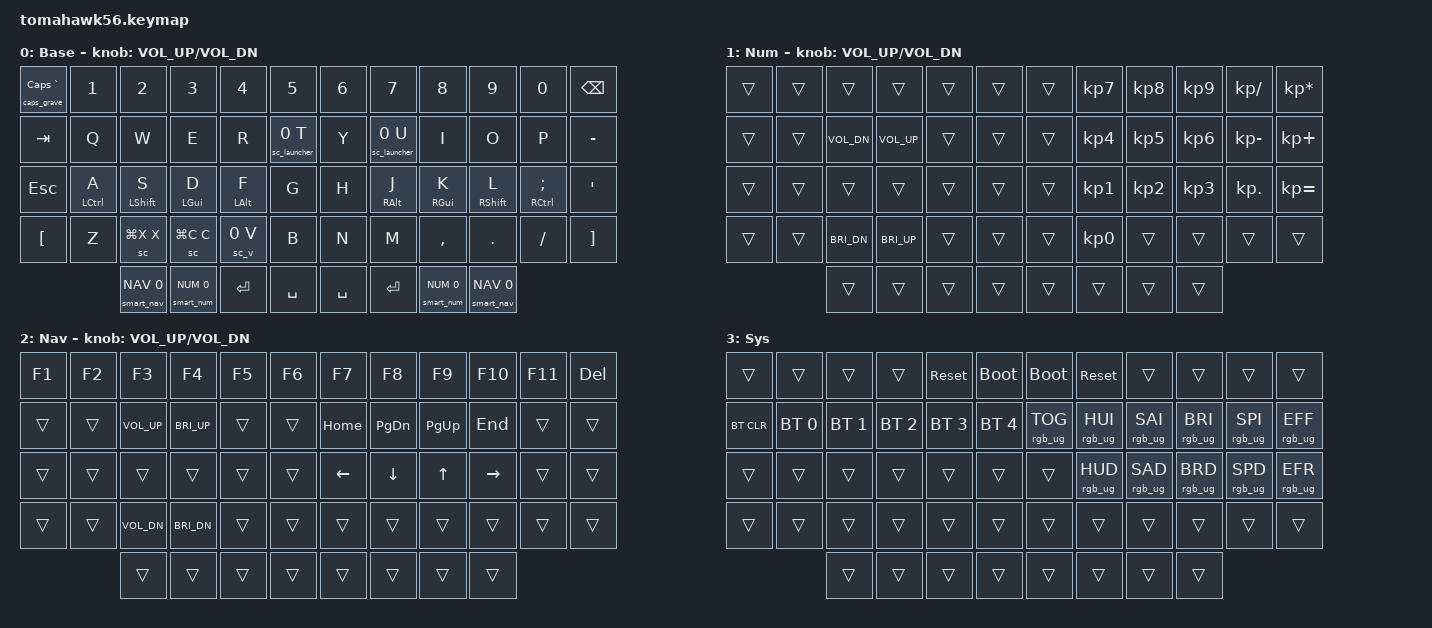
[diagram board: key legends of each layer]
/*
 * Copyright (c) 2020 The ZMK Contributors
 *
 * SPDX-License-Identifier: MIT
 */

#include <behaviors.dtsi>
#include <dt-bindings/zmk/bt.h>
#include <dt-bindings/zmk/keys.h>
#include <dt-bindings/zmk/rgb.h>
#include <dt-bindings/zmk/backlight.h>
#include <zmk-helpers/helper.h>

// === Position labels (MoErgo-style: C1 = innermost column, R1 = bottom row,
// T1 = innermost thumb). Tomahawk56 = uniform 4 rows x 6 columns + 4 thumbs per side. ===
//
//   Left hand:                              Right hand:
//   C6 C5 C4 C3 C2 C1                       C1 C2 C3 C4 C5 C6
//   numbers   row    (R4) -------- top row  numbers
//   top alpha row    (R3) ----- top alpha row
//   home row         (R2) --------- home row
//   bottom alpha row (R1) - bottom alpha row
//
//   Thumbs (outer -> inner):  Thumbs (inner -> outer):
//   T4 T3 T2 T1                T1 T2 T3 T4

// Left hand finger keys.
#define LH_C6_R4  0
#define LH_C5_R4  1
#define LH_C4_R4  2
#define LH_C3_R4  3
#define LH_C2_R4  4
#define LH_C1_R4  5

#define LH_C6_R3 12
#define LH_C5_R3 13
#define LH_C4_R3 14
#define LH_C3_R3 15
#define LH_C2_R3 16
#define LH_C1_R3 17

#define LH_C6_R2 24
#define LH_C5_R2 25
#define LH_C4_R2 26
#define LH_C3_R2 27
#define LH_C2_R2 28
#define LH_C1_R2 29

#define LH_C6_R1 36
#define LH_C5_R1 37
#define LH_C4_R1 38
#define LH_C3_R1 39
#define LH_C2_R1 40
#define LH_C1_R1 41

// Left hand thumbs (T4 outermost -> T1 innermost).
#define LH_T4    48
#define LH_T3    49
#define LH_T2    50
#define LH_T1    51

// Right hand finger keys.
#define RH_C1_R4  6
#define RH_C2_R4  7
#define RH_C3_R4  8
#define RH_C4_R4  9
#define RH_C5_R4 10
#define RH_C6_R4 11

#define RH_C1_R3 18
#define RH_C2_R3 19
#define RH_C3_R3 20
#define RH_C4_R3 21
#define RH_C5_R3 22
#define RH_C6_R3 23

#define RH_C1_R2 30
#define RH_C2_R2 31
#define RH_C3_R2 32
#define RH_C4_R2 33
#define RH_C5_R2 34
#define RH_C6_R2 35

#define RH_C1_R1 42
#define RH_C2_R1 43
#define RH_C3_R1 44
#define RH_C4_R1 45
#define RH_C5_R1 46
#define RH_C6_R1 47

// Right hand thumbs (T1 innermost -> T4 outermost).
#define RH_T1    52
#define RH_T2    53
#define RH_T3    54
#define RH_T4    55

// Position groups (for HRM hold-trigger-key-positions and similar).
#define KEYS_L  LH_C6_R4 LH_C5_R4 LH_C4_R4 LH_C3_R4 LH_C2_R4 LH_C1_R4 \
                LH_C6_R3 LH_C5_R3 LH_C4_R3 LH_C3_R3 LH_C2_R3 LH_C1_R3 \
                LH_C6_R2 LH_C5_R2 LH_C4_R2 LH_C3_R2 LH_C2_R2 LH_C1_R2 \
                LH_C6_R1 LH_C5_R1 LH_C4_R1 LH_C3_R1 LH_C2_R1 LH_C1_R1

#define KEYS_R  RH_C1_R4 RH_C2_R4 RH_C3_R4 RH_C4_R4 RH_C5_R4 RH_C6_R4 \
                RH_C1_R3 RH_C2_R3 RH_C3_R3 RH_C4_R3 RH_C5_R3 RH_C6_R3 \
                RH_C1_R2 RH_C2_R2 RH_C3_R2 RH_C4_R2 RH_C5_R2 RH_C6_R2 \
                RH_C1_R1 RH_C2_R1 RH_C3_R1 RH_C4_R1 RH_C5_R1 RH_C6_R1

#define THUMBS  LH_T4 LH_T3 LH_T2 LH_T1  RH_T1 RH_T2 RH_T3 RH_T4

#define QUICK_TAP_MS 175

// Layer indices.
#define BASE 0
#define NUM  1
#define NAV  2
#define SYS  3

// Combo timing constants.
//   SYS combos: deliberate 2-key chord to activate the sys layer.
//     Wider timeout because the fingers travel further; long prior-idle
//     because triggering during typing must be effectively impossible.
//   HRM chords: tight chord on adjacent home-row keys to fire a 2-mod combo.
//     Short timeout to avoid typed-bigram false fires; modest prior-idle
//     gate to keep it out of typing flow.
#define SYS_COMBO_TIMEOUT_MS    300
#define SYS_COMBO_PRIOR_IDLE_MS 500
#define HRM_CHORD_TIMEOUT_MS     50
#define HRM_CHORD_PRIOR_IDLE_MS 150

// Home-row mods (urob-style): balanced flavor + opposite-hand positional trigger
// + hold-trigger-on-release + prior-idle gate. Mirrors the kanata setup.
#define MAKE_HRM(NAME, HOLD, TAP, TRIGGER_POS)                                 \
  ZMK_HOLD_TAP(NAME, bindings = <HOLD>, <TAP>; flavor = "balanced";            \
               tapping-term-ms = <280>; quick-tap-ms = <QUICK_TAP_MS>;         \
               require-prior-idle-ms = <150>; hold-trigger-on-release;         \
               hold-trigger-key-positions = <TRIGGER_POS>;)

MAKE_HRM(hml, &kp, &kp, KEYS_R THUMBS) // Left-hand HRMs (trigger from right + thumbs).
MAKE_HRM(hmr, &kp, &kp, KEYS_L THUMBS) // Right-hand HRMs (trigger from left + thumbs).

// Shortcut hold-tap: hold = mod-combo, tap = letter. tap-preferred + quick-tap-ms
// gives kanata-like "tap by default, double-tap-hold repeats via OS auto-repeat".
// Use at call site: &sc LG(C) C  -> tap=C, hold=Cmd+C.
ZMK_HOLD_TAP(sc, bindings = <&kp>, <&kp>; flavor = "tap-preferred";
             tapping-term-ms = <175>; quick-tap-ms = <QUICK_TAP_MS>;)

// Launcher/prefix shortcut: fire Ctrl+Space *once* on invocation (used by t/u
// hold for zellij prefix etc.). Wrapped as a macro so the chord doesn't stay
// pressed while the hold-tap key is held -- prevents zellij from seeing a
// repeating prefix trigger.
ZMK_MACRO(launcher, bindings = <&kp LC(SPACE)>; wait-ms = <0>; tap-ms = <30>;)

ZMK_HOLD_TAP(sc_launcher, bindings = <&launcher>, <&kp>; flavor = "tap-preferred";
             tapping-term-ms = <175>; quick-tap-ms = <QUICK_TAP_MS>;)

// Paste-from-Pastebot shortcut. Pastebot's hotkey is Ctrl+Shift+V on this
// machine (matches the kanata config's `C-S-v`), NOT the macOS-standard
// Cmd+Shift+V. Built as a macro so the modifier set is fixed at compile time.
ZMK_MACRO(paste_plain,
          bindings = <&macro_press &kp LCTRL &kp LSHFT>,
                     <&macro_tap &kp V>,
                     <&macro_release &kp LSHFT &kp LCTRL>;
          wait-ms = <40>;
          tap-ms = <40>;)

// Hold-tap variant of sc with the hold hardcoded to paste-plain.
ZMK_HOLD_TAP(sc_v, bindings = <&paste_plain>, <&kp>; flavor = "tap-preferred";
             tapping-term-ms = <175>; quick-tap-ms = <QUICK_TAP_MS>;)

// Grave/tilde/caps key: tap = `, shift+tap = ~ (via shift flow-through from
// an HRM or modifier held during the tap), hold = Caps Lock toggle. Replaces
// &gresc at LH_C6_R4.
ZMK_HOLD_TAP(caps_grave, bindings = <&kp>, <&kp>; flavor = "tap-preferred";
             tapping-term-ms = <200>; quick-tap-ms = <QUICK_TAP_MS>;)

// Smart layer-tap: hold = momentary layer (active while held), 1-tap = return
// to base layer (&to BASE), 2-tap = toggle persistent layer overlay (&tog).
// Uses &tog for the persistent path because &to deactivates all other layers
// including the base, which would break &trans fall-through on the LH side.
ZMK_TAP_DANCE(td_num, bindings = <&to BASE>, <&tog NUM>; tapping-term-ms = <350>;)
ZMK_HOLD_TAP(smart_num, bindings = <&mo>, <&td_num>; flavor = "balanced";
             tapping-term-ms = <200>; quick-tap-ms = <QUICK_TAP_MS>;)

ZMK_TAP_DANCE(td_nav, bindings = <&to BASE>, <&tog NAV>; tapping-term-ms = <350>;)
ZMK_HOLD_TAP(smart_nav, bindings = <&mo>, <&td_nav>; flavor = "balanced";
             tapping-term-ms = <200>; quick-tap-ms = <QUICK_TAP_MS>;)

// === HRM 2-key chords (kanata defchordsv2 equivalent) ===
// Pressing two adjacent HRM home-row keys within 50ms holds the corresponding
// modifier pair for as long as the chord is held. Releases cleanly when either
// chord key is released. require-prior-idle-ms gates the combos out of
// typing flow so bigrams like "as", "and", "is" don't trigger accidentally.

#define CHORD(NAME, MOD1, MOD2)                                                \
  ZMK_MACRO(NAME,                                                              \
      bindings = <&macro_press &kp MOD1 &kp MOD2>,                             \
                 <&macro_pause_for_release>,                                   \
                 <&macro_release &kp MOD2 &kp MOD1>;                           \
      wait-ms = <0>; tap-ms = <0>;)

// Left-hand chord macros (a=LCTL, s=LSFT, d=LGUI, f=LALT).
CHORD(chord_lctl_lsft, LCTRL, LSHFT)  // a + s
CHORD(chord_lctl_lgui, LCTRL, LGUI)   // a + d
CHORD(chord_lctl_lalt, LCTRL, LALT)   // a + f
CHORD(chord_lsft_lgui, LSHFT, LGUI)   // s + d
CHORD(chord_lsft_lalt, LSHFT, LALT)   // s + f
CHORD(chord_lgui_lalt, LGUI,  LALT)   // d + f

// Right-hand chord macros (j=RALT, k=RGUI, l=RSFT, ;=RCTL).
CHORD(chord_ralt_rgui, RALT,  RGUI)   // j + k
CHORD(chord_ralt_rsft, RALT,  RSHFT)  // j + l
CHORD(chord_ralt_rctl, RALT,  RCTRL)  // j + ;
CHORD(chord_rgui_rsft, RGUI,  RSHFT)  // k + l
CHORD(chord_rgui_rctl, RGUI,  RCTRL)  // k + ;
CHORD(chord_rsft_rctl, RSHFT, RCTRL)  // l + ;

/*
 * Assign the cs-gpios pin to 4.
 * Uncomment these next few lines if implementing nice!view Displays
 */

// nice_view_spi: &spi0 { cs-gpios = <&pro_micro 4 GPIO_ACTIVE_HIGH>; };

// Uncomment this block if using RGB
&led_strip {
    chain-length = <28>;
};

/ {
    // Combos that activate the sys layer (layer 3). Each combo lives on a single
    // half so the central can process it even if the peripheral is briefly out
    // (and so the bootloader/reset keys on the sys layer land on real physical
    // positions, ensuring &bootloader and &sys_reset route to the intended half).
    combos {
        compatible = "zmk,combos";

        // 2-key combo activates the sys layer; the bootloader/sys_reset
        // keys (N4-N7 on the sys layer) are then pressed as a separate keystroke.
        // Matches the original b78ffee design intent -- 2 keys to coordinate
        // within the combo window, then a third deliberate key press for the
        // actual reset/bootloader action.
        combo_sys_left {
            timeout-ms = <SYS_COMBO_TIMEOUT_MS>;
            key-positions = <LH_T1 LH_C5_R1>;  // SPACE + Z
            bindings = <&mo SYS>;
            require-prior-idle-ms = <SYS_COMBO_PRIOR_IDLE_MS>;
        };

        combo_sys_right {
            timeout-ms = <SYS_COMBO_TIMEOUT_MS>;
            key-positions = <RH_T1 RH_C5_R1>;  // SPACE + /
            bindings = <&mo SYS>;
            require-prior-idle-ms = <SYS_COMBO_PRIOR_IDLE_MS>;
        };

        // === HRM chord combos: 2 adjacent home-row keys -> 2-mod combo ===
        // Each chord fires the matching chord_* macro, which holds the mods
        // until the chord is released. timeout=50ms is tight enough to avoid
        // typing-roll false-fires; require-prior-idle-ms=150 adds an idle
        // gate for typed bigrams like "as", "is", "in" etc.

        // Left hand: a + s/d/f, s + d/f, d + f.
        combo_chord_as { timeout-ms = <HRM_CHORD_TIMEOUT_MS>; key-positions = <LH_C5_R2 LH_C4_R2>; bindings = <&chord_lctl_lsft>; require-prior-idle-ms = <HRM_CHORD_PRIOR_IDLE_MS>; };
        combo_chord_ad { timeout-ms = <HRM_CHORD_TIMEOUT_MS>; key-positions = <LH_C5_R2 LH_C3_R2>; bindings = <&chord_lctl_lgui>; require-prior-idle-ms = <HRM_CHORD_PRIOR_IDLE_MS>; };
        combo_chord_af { timeout-ms = <HRM_CHORD_TIMEOUT_MS>; key-positions = <LH_C5_R2 LH_C2_R2>; bindings = <&chord_lctl_lalt>; require-prior-idle-ms = <HRM_CHORD_PRIOR_IDLE_MS>; };
        combo_chord_sd { timeout-ms = <HRM_CHORD_TIMEOUT_MS>; key-positions = <LH_C4_R2 LH_C3_R2>; bindings = <&chord_lsft_lgui>; require-prior-idle-ms = <HRM_CHORD_PRIOR_IDLE_MS>; };
        combo_chord_sf { timeout-ms = <HRM_CHORD_TIMEOUT_MS>; key-positions = <LH_C4_R2 LH_C2_R2>; bindings = <&chord_lsft_lalt>; require-prior-idle-ms = <HRM_CHORD_PRIOR_IDLE_MS>; };
        combo_chord_df { timeout-ms = <HRM_CHORD_TIMEOUT_MS>; key-positions = <LH_C3_R2 LH_C2_R2>; bindings = <&chord_lgui_lalt>; require-prior-idle-ms = <HRM_CHORD_PRIOR_IDLE_MS>; };

        // Right hand: j + k/l/;, k + l/;, l + ;.
        combo_chord_jk    { timeout-ms = <HRM_CHORD_TIMEOUT_MS>; key-positions = <RH_C2_R2 RH_C3_R2>; bindings = <&chord_ralt_rgui>; require-prior-idle-ms = <HRM_CHORD_PRIOR_IDLE_MS>; };
        combo_chord_jl    { timeout-ms = <HRM_CHORD_TIMEOUT_MS>; key-positions = <RH_C2_R2 RH_C4_R2>; bindings = <&chord_ralt_rsft>; require-prior-idle-ms = <HRM_CHORD_PRIOR_IDLE_MS>; };
        combo_chord_jsemi { timeout-ms = <HRM_CHORD_TIMEOUT_MS>; key-positions = <RH_C2_R2 RH_C5_R2>; bindings = <&chord_ralt_rctl>; require-prior-idle-ms = <HRM_CHORD_PRIOR_IDLE_MS>; };
        combo_chord_kl    { timeout-ms = <HRM_CHORD_TIMEOUT_MS>; key-positions = <RH_C3_R2 RH_C4_R2>; bindings = <&chord_rgui_rsft>; require-prior-idle-ms = <HRM_CHORD_PRIOR_IDLE_MS>; };
        combo_chord_ksemi { timeout-ms = <HRM_CHORD_TIMEOUT_MS>; key-positions = <RH_C3_R2 RH_C5_R2>; bindings = <&chord_rgui_rctl>; require-prior-idle-ms = <HRM_CHORD_PRIOR_IDLE_MS>; };
        combo_chord_lsemi { timeout-ms = <HRM_CHORD_TIMEOUT_MS>; key-positions = <RH_C4_R2 RH_C5_R2>; bindings = <&chord_rsft_rctl>; require-prior-idle-ms = <HRM_CHORD_PRIOR_IDLE_MS>; };
    };

    keymap {
        compatible = "zmk,keymap";

        default_layer {
// ------------------------------------------------------------------------------------------------------------
// | grv*  |  1  |  2   |  3   |  4   |  5   |            |  6   |  7    |  8    |  9   |   0   | BSPC  |
// |  TAB  |  Q  |  W   |  E   |  R   |  T*  |            |  Y   |  U*   |  I    |  O   |   P   |   -   |
// |  ESC  |CTL/A|SFT/S |CMD/D |ALT/F |  G   |            |  H   |ALT/J  |CMD/K  |SFT/L |CTL/;  |   '   |
// |  [    |  Z  |  X*  |  C*  |  V*  |  B   |            |  N   |  M    |  ,    |  .   |   /   |  ]    |
//               | NUM  | NUM  | ENT  |SPACE |            |SPACE | ENT   |  NAV  | NAV  |
//
// Holds: T*/U* -> Ctrl-Space; X* -> Cmd-X; C* -> Cmd-C; V* -> Cmd-Shift-V.
//        grv*  -> tap = `, shift+tap = ~, hold = Caps Lock.
//        NUM   -> hold momentary; 1-tap = back to base; 2-tap = toggle persistent.
//        NAV   -> same pattern for nav layer.

            display-name = "Base";
            bindings = <
&caps_grave CAPS GRAVE  &kp N1        &kp N2            &kp N3            &kp N4         &kp N5                  &kp N6     &kp N7                &kp N8             &kp N9            &kp N0           &kp BSPC
&kp TAB                 &kp Q         &kp W             &kp E             &kp R          &sc_launcher 0 T        &kp Y      &sc_launcher 0 U      &kp I              &kp O             &kp P            &kp MINUS
&kp ESC                 &hml LCTRL A  &hml LSHFT S      &hml LGUI D       &hml LALT F    &kp G                   &kp H      &hmr RALT J           &hmr RGUI K        &hmr RSHFT L      &hmr RCTRL SEMI  &kp SQT
&kp LBKT                &kp Z         &sc LG(X) X       &sc LG(C) C       &sc_v 0 V      &kp B                   &kp N      &kp M                 &kp COMMA          &kp DOT           &kp FSLH         &kp RBKT
                                      &smart_nav NAV 0  &smart_num NUM 0  &kp RET        &kp SPACE               &kp SPACE  &kp RET               &smart_num NUM 0   &smart_nav NAV 0
            >;

            sensor-bindings = <&inc_dec_kp C_VOL_UP C_VOL_DN>;
        };

        num_layer {
// ------------------------------------------------------------------------------------------------------------
// |       |     |     |      |      |      |            |      |  KP7  |  KP8  | KP9  |  KP/  |  KP*  |
// |       |     |VOL- |VOL+  |      |      |            |      |  KP4  |  KP5  | KP6  |  KP-  |  KP+  |
// |       |CTL/A|SFT/S|CMD/D |ALT/F |      |            |      |  KP1  |  KP2  | KP3  |  KP.  |  KP=  |
// |       |     |BRI- |BRI+  |      |      |            |      |  KP0  |       |      |       |       |
//               |     |      |      |      |            |      |       |       |      |
//
// Held via LH thumb (NUM key). Top row is &trans -- falls through to base
// numbers (1-0). RH numpad shifted up one row so 7-8-9 are on R4; 0 sits
// directly below 1. LH C3/C4: volume side-by-side on R3, brightness
// side-by-side on R1. LH HRMs stay live via &trans on R2.

            display-name = "Num";
            bindings = <
&trans   &trans   &trans        &trans        &trans   &trans         &trans   &kp KP_N7   &kp KP_N8   &kp KP_N9   &kp KP_SLASH    &kp KP_ASTERISK
&trans   &trans   &kp C_VOL_DN  &kp C_VOL_UP  &trans   &trans         &trans   &kp KP_N4   &kp KP_N5   &kp KP_N6   &kp KP_MINUS    &kp KP_PLUS
&trans   &trans   &trans        &trans        &trans   &trans         &trans   &kp KP_N1   &kp KP_N2   &kp KP_N3   &kp KP_DOT      &kp KP_EQUAL
&trans   &trans   &kp C_BRI_DN  &kp C_BRI_UP  &trans   &trans         &trans   &kp KP_N0   &trans      &trans      &trans          &trans
                  &trans        &trans        &trans   &trans         &trans   &trans      &trans      &trans
            >;

            sensor-bindings = <&inc_dec_kp C_VOL_UP C_VOL_DN>;
        };

        nav_layer {
// ------------------------------------------------------------------------------------------------------------
// |  F1   | F2  | F3  | F4   | F5   | F6   |            | F7   | F8    | F9    | F10  |  F11  |  DEL  |
// |       |     |VOL+ |BRI+  |      |      |            | HOME | PG_DN | PG_UP | END  |       |       |
// |       |CTL/A|SFT/S|CMD/D |ALT/F |      |            |  <-  |   v   |   ^   |  ->  |       |       |
// |       |     |VOL- |BRI-  |      |      |            |      |       |       |      |       |       |
//               |     |      |      |      |            |      |       |       |      |
//
// Held via RH thumb (NAV key). LH HRMs stay live; RH HRMs overridden so
// HJKL = LEFT DOWN UP RIGHT directly. Page nav above arrows. The BSPC
// position becomes DEL (forward delete) -- macOS treats &kp DEL as the
// same event Fn+Delete generates.

            display-name = "Nav";
            bindings = <
&kp F1   &kp F2   &kp F3        &kp F4        &kp F5  &kp F6        &kp F7      &kp F8       &kp F9       &kp F10       &kp F11   &kp DEL
&trans   &trans   &kp C_VOL_UP  &kp C_BRI_UP  &trans  &trans        &kp HOME    &kp PG_DN    &kp PG_UP    &kp END       &trans    &trans
&trans   &trans   &trans        &trans        &trans  &trans        &kp LEFT    &kp DOWN     &kp UP       &kp RIGHT     &trans    &trans
&trans   &trans   &kp C_VOL_DN  &kp C_BRI_DN  &trans  &trans        &trans      &trans       &trans       &trans        &trans    &trans
                  &trans        &trans        &trans  &trans        &trans      &trans       &trans       &trans
            >;

            sensor-bindings = <&inc_dec_kp C_VOL_UP C_VOL_DN>;
        };

        sys_layer {
// ------------------------------------------------------------------------------------------------------------
// |       |     |     |     |RESET| BOOT |            | BOOT |RESET|     |     |     |       |
// | BTCLR | BT0 | BT1 | BT2 | BT3 | BT4  |            |UG_TOG|UG_H+|UG_S+|UG_B+|UG_P+| UG_E+ |
// |       |     |     |     |     |      |            |      |UG_H-|UG_S-|UG_B-|UG_P-| UG_E- |
// |       |     |     |     |     |      |            |      |     |     |     |     |       |
//                     |     |     |      |            |      |     |     |     |
//
// Reached via 2-key combos:
//   left:  SPACE + Z   (LH_T1 + LH_C5_R1)
//   right: SPACE + /   (RH_T1 + RH_C5_R1)
// Then on this layer, press the appropriate number key:
//   N4 -> sys_reset LEFT     N5 -> bootloader LEFT
//   N6 -> bootloader RIGHT   N7 -> sys_reset RIGHT
// LH row 3 = bluetooth controls; RH rows 2-3 = RGB underglow controls.

            display-name = "Sys";
            bindings = <
&trans       &trans         &trans         &trans         &sys_reset      &bootloader        &bootloader      &sys_reset       &trans           &trans           &trans           &trans
&bt BT_CLR   &bt BT_SEL 0   &bt BT_SEL 1   &bt BT_SEL 2   &bt BT_SEL 3    &bt BT_SEL 4       &rgb_ug RGB_TOG  &rgb_ug RGB_HUI  &rgb_ug RGB_SAI  &rgb_ug RGB_BRI  &rgb_ug RGB_SPI  &rgb_ug RGB_EFF
&trans       &trans         &trans         &trans         &trans          &trans             &trans           &rgb_ug RGB_HUD  &rgb_ug RGB_SAD  &rgb_ug RGB_BRD  &rgb_ug RGB_SPD  &rgb_ug RGB_EFR
&trans       &trans         &trans         &trans         &trans          &trans             &trans           &trans           &trans           &trans           &trans           &trans
                            &trans         &trans         &trans          &trans             &trans           &trans           &trans           &trans
            >;
        };

        extra_2 { status = "reserved"; };

        extra_3 { status = "reserved"; };
    };
};
